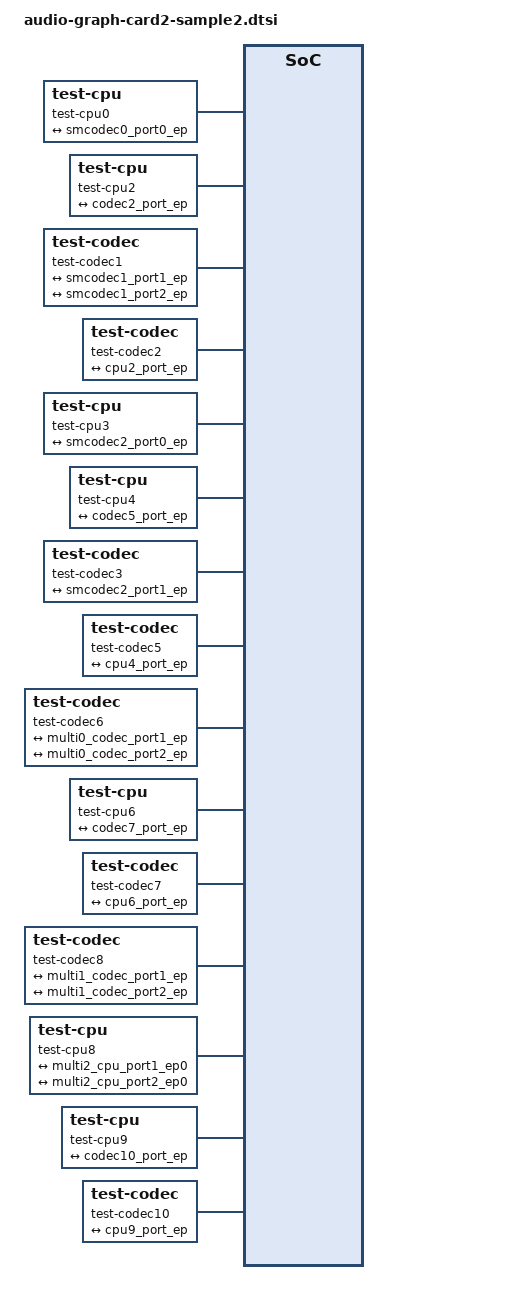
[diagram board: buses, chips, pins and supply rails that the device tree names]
// SPDX-License-Identifier: GPL-2.0
/*
 * Copyright 2025 NXP
 *
 * audio-graph-card2 multi link test scenarios
 *
 * IMPORTANT:
 *
 *	1) DO NOT use this alongside the other test scenarios as the
 *	node names are not unique across test DTSIs.
 *
 *	2) The test topologies used here are adapted from
 *	"audio-graph-card2-custom-sample1.dtsi".
 */

/ {
	/*
	 * Testcase 00
	 *
	 * DESCRIPTION: test disabled semi-multi link
	 *
	 * TOPOLOGY:
	 *
	 *	                          +-+
	 *      TEST_CPU0/P0 <-@--------> | |-> TEST_CODEC0/P0
	 *                                | |-> TEST_CODEC0/P1
	 *                                +-+
	 *
	 *	TEST_CODEC0 => DISABLED
	 *	TEST_CPU0 => ENABLED
	 *
	 *
	 * RESULT:
	 *	- sound card creation should fail as all of its links are
	 *	explicitly disabled.
	 */
	test-case-00 {
		compatible = "audio-graph-card2";
		label = "test-case-00";
		links = <&cpu0_port0>;

		multi {
			ports {
				#address-cells = <1>;
				#size-cells = <0>;

				/* SM link port */
				port@0 {
					reg = <0>;

					smcodec0_port0_ep: endpoint {
						remote-endpoint = <&cpu0_port0_ep>;
					};
				};

				port@1 {
					reg = <1>;

					smcodec0_port1_ep: endpoint {
						remote-endpoint = <&codec0_port0_ep>;
					};
				};

				port@2 {
					reg = <2>;

					smcodec0_port2_ep: endpoint {
						remote-endpoint = <&codec0_port1_ep>;
					};
				};
			};
		};
	};

	test-cpu0 {
		compatible = "test-cpu";

		ports {
			#address-cells = <1>;
			#size-cells = <0>;

			cpu0_port0: port@0 {
				reg = <0>;

				cpu0_port0_ep: endpoint {
					remote-endpoint = <&smcodec0_port0_ep>;
				};
			};
		};
	};

	test-codec0 {
		compatible = "test-codec";
		status = "disabled";

		ports {
			#address-cells = <1>;
			#size-cells = <0>;

			port@0 {
				reg = <0>;

				codec0_port0_ep: endpoint {
					remote-endpoint = <&smcodec0_port1_ep>;
				};
			};

			port@1 {
				reg = <1>;

				codec0_port1_ep: endpoint {
					remote-endpoint = <&smcodec0_port2_ep>;
				};
			};
		};
	};

	/*
	 * Testcase 01
	 *
	 * DESCRIPTION: test semi-multi link with explicitly disabled CPU.
	 *
	 * TOPOLOGY:
	 *
	 *	                       +-+
	 *      TEST_CPU1 <-@--------> | |-> TEST_CODEC1/P0
	 *                             | |-> TEST_CODEC1/P1
	 *                             +-+
	 *
	 *      TEST_CPU2 <---@----> TEST_CODEC2 (ACTIVE)
	 *
	 *
	 *	TEST_CPU1 => DISABLED
	 *	TEST_CPU2 => ENABLED
	 *	TEST_CODEC1 => ENABLED
	 *	TEST_CODEC2 => ENABLED
	 *
	 * RESULT:
	 *	- sound card creation should succeed with 1 explicitly disabled link.
	 */
	 test-case-01 {
		compatible = "audio-graph-card2";
		label = "test-case-01";
		links = <&cpu1_port>, <&cpu2_port>;

		multi {
			ports {
				#address-cells = <1>;
				#size-cells = <0>;

				/* SM link port */
				port@0 {
					reg = <0>;

					smcodec1_port0_ep: endpoint {
						remote-endpoint = <&cpu1_port_ep>;
					};
				};

				port@1 {
					reg = <1>;

					smcodec1_port1_ep: endpoint {
						remote-endpoint = <&codec1_port0_ep>;
					};
				};

				port@2 {
					reg = <2>;

					smcodec1_port2_ep: endpoint {
						remote-endpoint = <&codec1_port1_ep>;
					};
				};
			};
		};
	 };

	test-cpu1 {
		compatible = "test-cpu";
		status = "disabled";

		cpu1_port: port {
			cpu1_port_ep: endpoint {
				remote-endpoint = <&smcodec1_port0_ep>;
			};
		};
	};

	test-cpu2 {
		compatible = "test-cpu";

		cpu2_port: port {
			cpu2_port_ep: endpoint {
				remote-endpoint = <&codec2_port_ep>;
			};
		};
	};

	test-codec1 {
		compatible = "test-codec";

		ports {
			#address-cells = <1>;
			#size-cells = <0>;

			port@0 {
				reg = <0>;

				codec1_port0_ep: endpoint {
					remote-endpoint = <&smcodec1_port1_ep>;
				};
			};

			port@1 {
				reg = <1>;

				codec1_port1_ep: endpoint {
					remote-endpoint = <&smcodec1_port2_ep>;
				};
			};
		};
	};

	test-codec2 {
		compatible = "test-codec";

		port {
			codec2_port_ep: endpoint {
				remote-endpoint = <&cpu2_port_ep>;
			};
		};
	};

	/*
	 * Testcase 02
	 *
	 * DESCRIPTION: test semi-multi link with one explicitly disabled codec.
	 *
	 * TOPOLOGY:
	 *
	 *	                       +-+
	 *      TEST_CPU3 <-@--------> | |-> TEST_CODEC3 (ACTIVE)
	 *       (ACTIVE)              | |-> TEST_CODEC4 (DISABLED)
	 *                             +-+
	 *
	 *      TEST_CPU4 <---@----> TEST_CODEC5 (ACTIVE)
	 *       (ACTIVE)
	 *
	 *
	 *	TEST_CPU3 => ENABLED
	 *	TEST_CPU4 => ENABLED
	 *	TEST_CODEC3 => ENABLED
	 *	TEST_CODEC4 => DISABLED
	 *	TEST_CODEC5 => ENABLED
	 *
	 * RESULT:
	 *	- sound card creation should succeed with 1 explicitly disabled link.
	 */
	 test-case-02 {
		compatible = "audio-graph-card2";
		label = "test-case-02";
		links = <&cpu3_port>, <&cpu4_port>;

		multi {
			ports {
				#address-cells = <1>;
				#size-cells = <0>;

				/* SM link port */
				port@0 {
					reg = <0>;

					smcodec2_port0_ep: endpoint {
						remote-endpoint = <&cpu3_port_ep>;
					};
				};

				port@1 {
					reg = <1>;

					smcodec2_port1_ep: endpoint {
						remote-endpoint = <&codec3_port_ep>;
					};
				};

				port@2 {
					reg = <2>;

					smcodec2_port2_ep: endpoint {
						remote-endpoint = <&codec4_port_ep>;
					};
				};
			};
		};
	 };

	test-cpu3 {
		compatible = "test-cpu";

		cpu3_port: port {
			cpu3_port_ep: endpoint {
				remote-endpoint = <&smcodec2_port0_ep>;
			};
		};
	};

	test-cpu4 {
		compatible = "test-cpu";

		cpu4_port: port {
			cpu4_port_ep: endpoint {
				remote-endpoint = <&codec5_port_ep>;
			};
		};
	};

	test-codec3 {
		compatible = "test-codec";

		port {
			codec3_port_ep: endpoint {
				remote-endpoint = <&smcodec2_port1_ep>;
			};
		};
	};

	test-codec4 {
		compatible = "test-codec";
		status = "disabled";

		port {
			codec4_port_ep: endpoint {
				remote-endpoint = <&smcodec2_port2_ep>;
			};
		};
	};

	test-codec5 {
		compatible = "test-codec";

		port {
			codec5_port_ep: endpoint {
				remote-endpoint = <&cpu4_port_ep>;
			};
		};
	};

	/*
	 * Testcase 03
	 *
	 * DESCRIPTION: test disabled multi link.
	 *
	 * TOPOLOGY:
	 *                      +---+            +---+
	 *      TEST_CPU5/P0 <- |   | <---@----> |   | -> TEST_CODEC6/P0
	 *      TEST_CPU5/P1 <- |   |            |   | -> TEST_CODEC6/P1
	 *                      +---+            +---+
	 *
	 *
	 *	TEST_CPU5 => DISABLED
	 *	TEST_CODEC6 => ENABLED
	 *
	 * RESULT:
	 *	- sound card creation should fail since all of its links are
	 *	explicitly disabled.
	 */
	test-case-03 {
		compatible = "audio-graph-card2";
		label = "test-case-03";
		links = <&multi0_cpu_port0>;

		multi {
			#address-cells = <1>;
			#size-cells = <0>;

			ports@0 {
				reg = <0>;
				#address-cells = <1>;
				#size-cells = <0>;

				multi0_cpu_port0: port@0 {
					reg = <0>;

					multi0_cpu_port0_ep: endpoint {
						remote-endpoint = <&multi0_codec_port0_ep>;
					};
				};

				multi0_cpu_port1: port@1 {
					reg = <1>;

					multi0_cpu_port1_ep: endpoint {
						remote-endpoint = <&cpu6_port0_ep>;
					};
				};

				multi0_cpu_port2: port@2 {
					reg = <2>;

					multi0_cpu_port2_ep: endpoint {
						remote-endpoint = <&cpu6_port1_ep>;
					};
				};
			};

			ports@1 {
				reg = <1>;
				#address-cells = <1>;
				#size-cells = <0>;

				multi0_codec_port0: port@0 {
					reg = <0>;

					multi0_codec_port0_ep: endpoint {
						remote-endpoint = <&multi0_cpu_port0_ep>;
					};
				};

				multi0_codec_port1: port@1 {
					reg = <1>;

					multi0_codec_port1_ep: endpoint {
						remote-endpoint = <&codec6_port0_ep>;
					};
				};

				multi0_codec_port2: port@2 {
					reg = <2>;

					multi0_codec_port2_ep: endpoint {
						remote-endpoint = <&codec6_port1_ep>;
					};
				};
			};
		};
	};

	test-cpu5 {
		compatible = "test-cpu";
		status = "disabled";

		ports {
			#address-cells = <1>;
			#size-cells = <0>;

			cpu6_port0: port@0 {
				reg = <0>;

				cpu6_port0_ep: endpoint {
					remote-endpoint = <&multi0_cpu_port1_ep>;
				};
			};

			cpu6_port1: port@1 {
				reg = <1>;

				cpu6_port1_ep: endpoint {
					remote-endpoint = <&multi0_cpu_port2_ep>;
				};
			};
		};
	};

	test-codec6 {
		compatible = "test-codec";

		ports {
			#address-cells = <1>;
			#size-cells = <0>;

			codec6_port0: port@0 {
				reg = <0>;

				codec6_port0_ep: endpoint {
					remote-endpoint = <&multi0_codec_port1_ep>;
				};
			};

			codec6_port1: port@1 {
				reg = <1>;

				codec6_port1_ep: endpoint {
					remote-endpoint = <&multi0_codec_port2_ep>;
				};
			};
		};
	};

	/*
	 * Testcase 04
	 *
	 * DESCRIPTION: test multi link with disabled CPU.
	 *
	 * TOPOLOGY:
	 *                      +---+            +---+
	 *      TEST_CPU7/P0 <- |   | <---@----> |   | -> TEST_CODEC8/P0
	 *      TEST_CPU7/P1 <- |   |            |   | -> TEST_CODEC8/P1
	 *                      +---+            +---+
	 *
	 *      TEST_CPU6 <---@-----> TEST_CODEC7
	 *
	 *
	 *	TEST_CPU6 => ENABLED
	 *	TEST_CPU7 => DISABLED
	 *	TEST_CODEC7 => ENABLED
	 *	TEST_CODEC8 => ENABLED
	 *
	 * RESULT:
	 *	- sound card creation should succeed with 1 explicitly disabled link.
	 */
	test-case-04 {
		compatible = "audio-graph-card2";
		label = "test-case-04";
		links = <&cpu6_port>, <&multi1_cpu_port0>;

		multi {
			#address-cells = <1>;
			#size-cells = <0>;

			ports@0 {
				reg = <0>;
				#address-cells = <1>;
				#size-cells = <0>;

				multi1_cpu_port0: port@0 {
					reg = <0>;

					multi1_cpu_port0_ep: endpoint {
						remote-endpoint = <&multi1_codec_port0_ep>;
					};
				};

				multi1_cpu_port1: port@1 {
					reg = <1>;

					multi1_cpu_port1_ep: endpoint {
						remote-endpoint = <&cpu7_port0_ep>;
					};
				};

				multi1_cpu_port2: port@2 {
					reg = <2>;

					multi1_cpu_port2_ep: endpoint {
						remote-endpoint = <&cpu7_port1_ep>;
					};
				};
			};

			ports@1 {
				reg = <1>;
				#address-cells = <1>;
				#size-cells = <0>;

				multi1_codec_port0: port@0 {
					reg = <0>;

					multi1_codec_port0_ep: endpoint {
						remote-endpoint = <&multi1_cpu_port0_ep>;
					};
				};

				multi1_codec_port1: port@1 {
					reg = <1>;

					multi1_codec_port1_ep: endpoint {
						remote-endpoint = <&codec8_port0_ep>;
					};
				};

				multi1_codec_port2: port@2 {
					reg = <2>;

					multi1_codec_port2_ep: endpoint {
						remote-endpoint = <&codec8_port1_ep>;
					};
				};
			};
		};
	};

	test-cpu6 {
		compatible = "test-cpu";

		cpu6_port: port {
			cpu6_port_ep: endpoint {
				remote-endpoint = <&codec7_port_ep>;
			};
		};
	};

	test-cpu7 {
		compatible = "test-cpu";
		status = "disabled";

		ports {
			#address-cells = <1>;
			#size-cells = <0>;

			cpu7_port0: port@0 {
				reg = <0>;

				cpu7_port0_ep: endpoint {
					remote-endpoint = <&multi1_cpu_port1_ep>;
				};
			};

			cpu7_port1: port@1 {
				reg = <1>;

				cpu7_port1_ep: endpoint {
					remote-endpoint = <&multi1_cpu_port2_ep>;
				};
			};
		};
	};

	test-codec7 {
		compatible = "test-codec";

		port {
			codec7_port_ep: endpoint {
				remote-endpoint = <&cpu6_port_ep>;
			};
		};
	};

	test-codec8 {
		compatible = "test-codec";

		ports {
			#address-cells = <1>;
			#size-cells = <0>;

			codec8_port0: port@0 {
				reg = <0>;

				codec8_port0_ep: endpoint {
					remote-endpoint = <&multi1_codec_port1_ep>;
				};
			};

			codec8_port1: port@1 {
				reg = <1>;

				codec8_port1_ep: endpoint {
					remote-endpoint = <&multi1_codec_port2_ep>;
				};
			};
		};
	};

	/*
	 * Testcase 05
	 *
	 * DESCRIPTION: test N:M (CPUS:CODECS), N < M multi link with disabled codec.
	 *
	 * TOPOLOGY:
	 *
	 *			+---+            +---+
	 *                      |   | <---@----> |   |
	 *                      |   |            |   |
	 *      TEST_CPU8/P0 <- |   | <--------> |   | -> TEST_CODEC9/P0
	 *      TEST_CPU8/P1 <- |   | <---+----> |   | -> TEST_CODEC9/P1
	 *                      |   |     \----> |   | -> TEST_CODEC9/P2
	 *                      +---+            +---+
	 *
	 *
	 *	TEST_CPU9 <---@----> TEST_CODEC10
	 *
	 *      TEST_CPU8 => ENABLED
	 *      TEST_CODEC9 => DISABLED
	 *	TEST_CPU9 => ENABLED
	 *	TEST_CODEC10 => ENABLED
	 *
	 * RESULT:
	 *	- sound card creation should succeed with 1 disabled link.
	 */
	test-case-05 {
		compatible = "audio-graph-card2";
		label = "test-case-05";
		links = <&multi2_cpu_port0>, <&cpu9_port>;

		multi {
			#address-cells = <1>;
			#size-cells = <0>;

			ports@0 {
				reg = <0>;
				#address-cells = <1>;
				#size-cells = <0>;

				multi2_cpu_port0: port@0 {
					reg = <0>;

					multi2_cpu_port0_ep: endpoint {
						remote-endpoint = <&multi2_codec_port0_ep>;
					};
				};

				port@1 {
					reg = <1>;
					#address-cells = <1>;
					#size-cells = <0>;

					multi2_cpu_port1_ep0: endpoint@0 {
						reg = <0>;
						remote-endpoint = <&cpu8_port0_ep>;
					};

					multi2_cpu_port1_ep1: endpoint@1 {
						reg = <1>;
						remote-endpoint = <&multi2_codec_port1_ep1>;
					};
				};

				port@2 {
					reg = <2>;
					#address-cells = <1>;
					#size-cells = <0>;

					multi2_cpu_port2_ep0: endpoint@0 {
						reg = <0>;
						remote-endpoint = <&cpu8_port1_ep>;
					};

					multi2_cpu_port2_ep1: endpoint@1 {
						reg = <1>;
						remote-endpoint = <&multi2_codec_port2_ep1>;
					};

					multi2_cpu_port2_ep2: endpoint@2 {
						reg = <2>;
						remote-endpoint = <&multi2_codec_port3_ep1>;
					};
				};
			};

			ports@1 {
				reg = <1>;
				#address-cells = <1>;
				#size-cells = <0>;

				port@0 {
					reg = <0>;

					multi2_codec_port0_ep: endpoint {
						remote-endpoint = <&multi2_cpu_port0_ep>;
					};
				};

				port@1 {
					reg = <1>;
					#address-cells = <1>;
					#size-cells = <0>;

					multi2_codec_port1_ep0: endpoint@0 {
						reg = <0>;
						remote-endpoint = <&codec9_port0_ep>;
					};

					multi2_codec_port1_ep1: endpoint@1 {
						reg = <1>;
						remote-endpoint = <&multi2_cpu_port1_ep1>;
					};
				};

				port@2 {
					reg = <2>;
					#address-cells = <1>;
					#size-cells = <0>;

					multi2_codec_port2_ep0: endpoint@0 {
						reg = <0>;
						remote-endpoint = <&codec9_port1_ep>;
					};

					multi2_codec_port2_ep1: endpoint@1 {
						reg = <1>;
						remote-endpoint = <&multi2_cpu_port2_ep1>;
					};
				};

				port@3 {
					reg = <3>;
					#address-cells = <1>;
					#size-cells = <0>;

					multi2_codec_port3_ep0: endpoint@0 {
						reg = <0>;
						remote-endpoint = <&codec9_port2_ep>;
					};

					multi2_codec_port3_ep1: endpoint@1 {
						reg = <1>;
						remote-endpoint = <&multi2_cpu_port2_ep2>;
					};
				};
			};
		};
	};

	test-cpu8 {
		compatible = "test-cpu";

		ports {
			#address-cells = <1>;
			#size-cells = <0>;

			port@0 {
				cpu8_port0_ep: endpoint {
					remote-endpoint = <&multi2_cpu_port1_ep0>;
				};
			};

			port@1 {
				cpu8_port1_ep: endpoint {
					remote-endpoint = <&multi2_cpu_port2_ep0>;
				};
			};
		};
	};

	test-cpu9 {
		compatible = "test-cpu";

		cpu9_port: port {
			cpu9_port_ep: endpoint {
				remote-endpoint = <&codec10_port_ep>;
			};
		};
	};

	test-codec9 {
		compatible = "test-codec";
		status = "disabled";

		ports {
			#address-cells = <1>;
			#size-cells = <0>;

			port@0 {
				reg = <0>;

				codec9_port0_ep: endpoint {
					remote-endpoint = <&multi2_codec_port1_ep0>;
				};
			};

			port@1 {
				reg = <1>;

				codec9_port1_ep: endpoint {
					remote-endpoint = <&multi2_codec_port2_ep0>;
				};
			};

			port@2 {
				reg = <2>;

				codec9_port2_ep: endpoint {
					remote-endpoint = <&multi2_codec_port3_ep0>;
				};
			};
		};
	};

	test-codec10 {
		compatible = "test-codec";

		port {
			codec10_port_ep: endpoint {
				remote-endpoint = <&cpu9_port_ep>;
			};
		};
	};
};
